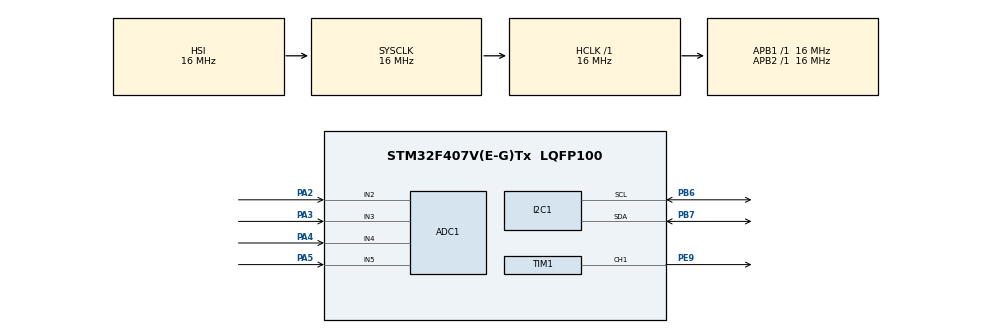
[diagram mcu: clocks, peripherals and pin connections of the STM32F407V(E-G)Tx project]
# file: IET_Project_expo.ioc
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ADC1.Channel-0\#ChannelRegularConversion=ADC_CHANNEL_2
ADC1.Channel-1\#ChannelRegularConversion=ADC_CHANNEL_3
ADC1.Channel-2\#ChannelRegularConversion=ADC_CHANNEL_4
ADC1.Channel-3\#ChannelRegularConversion=ADC_CHANNEL_5
ADC1.ContinuousConvMode=ENABLE
ADC1.NbrOfConversion=4
ADC1.NbrOfConversionFlag=1
ADC1.Rank-0\#ChannelRegularConversion=1
ADC1.Rank-1\#ChannelRegularConversion=2
ADC1.Rank-2\#ChannelRegularConversion=3
ADC1.Rank-3\#ChannelRegularConversion=4
ADC1.SamplingTime-0\#ChannelRegularConversion=ADC_SAMPLETIME_84CYCLES
ADC1.SamplingTime-1\#ChannelRegularConversion=ADC_SAMPLETIME_84CYCLES
ADC1.SamplingTime-2\#ChannelRegularConversion=ADC_SAMPLETIME_84CYCLES
ADC1.SamplingTime-3\#ChannelRegularConversion=ADC_SAMPLETIME_84CYCLES
ADC1.ScanConvMode=ENABLE
ADC1.master=1
Mcu.Family=STM32F4
Mcu.Name=STM32F407V(E-G)Tx
Mcu.Package=LQFP100
NVIC.PriorityGroup=NVIC_PRIORITYGROUP_4
PA2.Signal=ADCx_IN2
PA3.Signal=ADCx_IN3
PA4.Signal=ADCx_IN4
PA5.Signal=ADCx_IN5
PB6.Mode=I2C
PB6.Signal=I2C1_SCL
PB7.Mode=I2C
PB7.Signal=I2C1_SDA
PE9.Signal=S_TIM1_CH1
ProjectManager.HeapSize=0x200
ProjectManager.StackSize=0x400
ProjectManager.TargetToolchain=STM32CubeIDE
RCC.AHBFreq_Value=16000000
RCC.APB1Freq_Value=16000000
RCC.APB2Freq_Value=16000000
RCC.CortexFreq_Value=16000000
RCC.HSE_VALUE=25000000
RCC.HSI_VALUE=16000000
RCC.LSE_VALUE=32768
RCC.SYSCLKFreq_VALUE=16000000
RCC.VCOOutputFreq_Value=192000000
SH.ADCx_IN2.0=ADC1_IN2,IN2
SH.ADCx_IN3.0=ADC1_IN3,IN3
SH.ADCx_IN4.0=ADC1_IN4,IN4
SH.ADCx_IN5.0=ADC1_IN5,IN5
SH.S_TIM1_CH1.0=TIM1_CH1,PWM Generation1 CH1
TIM1.Channel-PWM\ Generation1\ CH1=TIM_CHANNEL_1
TIM1.Period=19999
TIM1.Prescaler=15
TIM1.Pulse-PWM\ Generation1\ CH1=1500
VP_TIM1_VS_ClockSourceINT.Mode=Internal
board=custom

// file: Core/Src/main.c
/* USER CODE BEGIN Header */
/**
  ******************************************************************************
  * @file           : main.c
  * @brief          : Main program body
  ******************************************************************************
  * @attention
  *
  * Copyright (c) 2025 STMicroelectronics.
  * All rights reserved.
  *
  * This software is licensed under terms that can be found in the LICENSE file
  * in the root directory of this software component.
  * If no LICENSE file comes with this software, it is provided AS-IS.
  *
  ******************************************************************************
  */
/* USER CODE END Header */
#include "main.h"

/* USER CODE BEGIN Includes */
#include "stm32f4xx_hal.h"
#include <math.h>
#include "lcd_i2c.h"
#include "stdio.h"
/* USER CODE END Includes */

/* USER CODE BEGIN PD */
//#define SERVO_MIN_ANGLE  0
//#define SERVO_MAX_ANGLE  120
#define SERVO_MIN_ANGLE  -60
#define SERVO_MAX_ANGLE  60

#define SERVO_STEP       10
#define LDR_THRESHOLD 10
#define POWER_THRESHOLD 5

#define V_REF 3.3
#define ADC_MAX 4095
/* USER CODE END PD */

ADC_HandleTypeDef hadc1;

I2C_HandleTypeDef hi2c1;

TIM_HandleTypeDef htim1;

/* USER CODE BEGIN PV */
int ldr1,ldr2;
int voltage,current;
//int current_angle = 60;
int current_angle = 0;

float prev_power = 0;
float cur_power;
float actual_current;
float actual_voltage;
/* USER CODE END PV */

void SystemClock_Config(void);
static void MX_GPIO_Init(void);
static void MX_ADC1_Init(void);
static void MX_I2C1_Init(void);
static void MX_TIM1_Init(void);
/* USER CODE BEGIN PFP */
void set_servo_angle(int angle);
void adjust_tilt(int ldr1, int ldr2,float cur_power);
/* USER CODE END PFP */

/* USER CODE BEGIN 0 */
void select_ADC_channel2(void){
	ADC_ChannelConfTypeDef sConfig = {0};
	sConfig.Channel = ADC_CHANNEL_2;
	  sConfig.Rank = 1;
	  sConfig.SamplingTime = ADC_SAMPLETIME_84CYCLES;
	  if (HAL_ADC_ConfigChannel(&hadc1, &sConfig) != HAL_OK)
	  {
	    Error_Handler();
	  }

	  /** Configure for the selected ADC regular channel its corresponding rank in the sequencer and its sample time.
	  */

	  /** Configure for the selected ADC regular channel its corresponding rank in the sequencer and its sample time.
	  */

}

void select_ADC_channel3(void){
	ADC_ChannelConfTypeDef sConfig = {0};

	  /** Configure for the selected ADC regular channel its corresponding rank in the sequencer and its sample time.
	  */
	  sConfig.Channel = ADC_CHANNEL_3;
	  sConfig.Rank = 1;
	  if (HAL_ADC_ConfigChannel(&hadc1, &sConfig) != HAL_OK)
	  {
	    Error_Handler();
	  }

	  /** Configure for the selected ADC regular channel its corresponding rank in the sequencer and its sample time.
	  */

	  /** Configure for the selected ADC regular channel its corresponding rank in the sequencer and its sample time.
	  */

}

void select_channel4(void){
	ADC_ChannelConfTypeDef sConfig = {0};

		  sConfig.Channel = ADC_CHANNEL_4;
		  sConfig.Rank = 1;
		  if (HAL_ADC_ConfigChannel(&hadc1, &sConfig) != HAL_OK)
		  {
		    Error_Handler();
		  }
}

void select_channel5(void){
	ADC_ChannelConfTypeDef sConfig = {0};

		  sConfig.Channel = ADC_CHANNEL_5;
		  sConfig.Rank = 1;
		  if (HAL_ADC_ConfigChannel(&hadc1, &sConfig) != HAL_OK)
		  {
		    Error_Handler();
		  }
}

void set_servo_angle(int angle) {
    if (angle < SERVO_MIN_ANGLE) angle = SERVO_MIN_ANGLE;
    if (angle > SERVO_MAX_ANGLE) angle = SERVO_MAX_ANGLE;

    int mapped_angle = (angle + 60)*180/120;  // Shift range (-60 to 60) -> (30 to 150)

    // Calculate duty cycle based on mapped angle
    int duty_cycle = ((mapped_angle * (2500 - 500)) / 180) + 500;
    __HAL_TIM_SET_COMPARE(&htim1, TIM_CHANNEL_1, duty_cycle);
    HAL_TIM_PWM_Start(&htim1, TIM_CHANNEL_1);

    current_angle = angle;
}

void adjust_tilt(int ldr1,int ldr2, float cur_power) {
   if (fabs(cur_power - prev_power) < POWER_THRESHOLD) {
       return;
   }

	int ldr_diff = (ldr1 - ldr2);

    if (fabs(ldr_diff) < LDR_THRESHOLD) {
        return;
    }

    if (ldr_diff > 0 && current_angle < SERVO_MAX_ANGLE) {
        set_servo_angle(current_angle + SERVO_STEP);
    } else if (ldr_diff < 0 && current_angle > SERVO_MIN_ANGLE) {
        set_servo_angle(current_angle - SERVO_STEP);
    }

    prev_power = cur_power;

}
/* USER CODE END 0 */

int main(void)
{

  /* MCU Configuration--------------------------------------------------------*/

  /* Reset of all peripherals, Initializes the Flash interface and the Systick. */
  HAL_Init();

  /* Configure the system clock */
  SystemClock_Config();

  /* Initialize all configured peripherals */
  MX_GPIO_Init();
  MX_ADC1_Init();
  MX_I2C1_Init();
  MX_TIM1_Init();
  /* USER CODE BEGIN 2 */
  LCD_Init(&hi2c1);
  /* USER CODE END 2 */

  /* Infinite loop */
  while (1)
  {
	  select_ADC_channel2();
	  	  HAL_ADC_Start(&hadc1);
	  	  HAL_ADC_PollForConversion(&hadc1, 1000);
	  	  ldr1 = HAL_ADC_GetValue(&hadc1);
	  	  HAL_ADC_Stop(&hadc1);

	  	  select_ADC_channel3();
	  	  HAL_ADC_Start(&hadc1);
	  	  HAL_ADC_PollForConversion(&hadc1, 1000);
	  	  ldr2 = HAL_ADC_GetValue(&hadc1);
	  	  HAL_ADC_Stop(&hadc1);

	  	  select_channel4();
	  	  HAL_ADC_Start(&hadc1);
	  	  HAL_ADC_PollForConversion(&hadc1, 1000);
	  	  voltage = HAL_ADC_GetValue(&hadc1);
	  	  HAL_ADC_Stop(&hadc1);

	  	  select_channel5();
	  	  HAL_ADC_Start(&hadc1);
	  	  HAL_ADC_PollForConversion(&hadc1, 1000);
	  	  current = HAL_ADC_GetValue(&hadc1);
	  	  HAL_ADC_Stop(&hadc1);

	  	 actual_voltage = (voltage / (float)ADC_MAX) * V_REF*  2.5;
	  	  float curr = (current / (float)ADC_MAX) * V_REF;
	  	     actual_current = (curr - 2.5) /0.185;
	  	     cur_power = actual_voltage * actual_current;

	  	   LCD_Clear();
	  	   LCD_SetCursor(0, 0);

	  	   char power_char[10];
	  	   int power_int = (int) cur_power;               // Integer part
	  	   int power_dec = (int)((cur_power - power_int) * 100); // Decimal part

	  	   sprintf(power_char, "%d.%02d", power_int, abs(power_dec));  // Manually format float
	  	   LCD_SendString("Power: ");
	  	   LCD_SendString(power_char);
	  	   LCD_SendString("W");

	  	   LCD_SetCursor(1, 0);

	  	   char volt_char[10];
	  	   int volt_int = (int) actual_voltage;
	  	   int volt_dec = (int)((actual_voltage - volt_int) * 100);

	  	   sprintf(volt_char, "%d.%02d", volt_int, abs(volt_dec));
	  	   LCD_SendString("Voltage: ");
	  	   LCD_SendString(volt_char);
	  	   LCD_SendString("V");

	  	  adjust_tilt(ldr1, ldr2,cur_power);

	  	  HAL_Delay(800);
  }
}

void SystemClock_Config(void)
{
  RCC_OscInitTypeDef RCC_OscInitStruct = {0};
  RCC_ClkInitTypeDef RCC_ClkInitStruct = {0};

  /** Configure the main internal regulator output voltage
  */
  __HAL_RCC_PWR_CLK_ENABLE();
  __HAL_PWR_VOLTAGESCALING_CONFIG(PWR_REGULATOR_VOLTAGE_SCALE1);

  /** Initializes the RCC Oscillators according to the specified parameters
  * in the RCC_OscInitTypeDef structure.
  */
  RCC_OscInitStruct.OscillatorType = RCC_OSCILLATORTYPE_HSI;
  RCC_OscInitStruct.HSIState = RCC_HSI_ON;
  RCC_OscInitStruct.HSICalibrationValue = RCC_HSICALIBRATION_DEFAULT;
  RCC_OscInitStruct.PLL.PLLState = RCC_PLL_NONE;
  if (HAL_RCC_OscConfig(&RCC_OscInitStruct) != HAL_OK)
  {
    Error_Handler();
  }

  /** Initializes the CPU, AHB and APB buses clocks
  */
  RCC_ClkInitStruct.ClockType = RCC_CLOCKTYPE_HCLK|RCC_CLOCKTYPE_SYSCLK
                              |RCC_CLOCKTYPE_PCLK1|RCC_CLOCKTYPE_PCLK2;
  RCC_ClkInitStruct.SYSCLKSource = RCC_SYSCLKSOURCE_HSI;
  RCC_ClkInitStruct.AHBCLKDivider = RCC_SYSCLK_DIV1;
  RCC_ClkInitStruct.APB1CLKDivider = RCC_HCLK_DIV1;
  RCC_ClkInitStruct.APB2CLKDivider = RCC_HCLK_DIV1;

  if (HAL_RCC_ClockConfig(&RCC_ClkInitStruct, FLASH_LATENCY_0) != HAL_OK)
  {
    Error_Handler();
  }
}

static void MX_ADC1_Init(void)
{

  ADC_ChannelConfTypeDef sConfig = {0};

  /** Configure the global features of the ADC (Clock, Resolution, Data Alignment and number of conversion)
  */
  hadc1.Instance = ADC1;
  hadc1.Init.ClockPrescaler = ADC_CLOCK_SYNC_PCLK_DIV2;
  hadc1.Init.Resolution = ADC_RESOLUTION_12B;
  hadc1.Init.ScanConvMode = ENABLE;
  hadc1.Init.ContinuousConvMode = ENABLE;
  hadc1.Init.DiscontinuousConvMode = DISABLE;
  hadc1.Init.ExternalTrigConvEdge = ADC_EXTERNALTRIGCONVEDGE_NONE;
  hadc1.Init.ExternalTrigConv = ADC_SOFTWARE_START;
  hadc1.Init.DataAlign = ADC_DATAALIGN_RIGHT;
  hadc1.Init.NbrOfConversion = 4;
  hadc1.Init.DMAContinuousRequests = DISABLE;
  hadc1.Init.EOCSelection = ADC_EOC_SINGLE_CONV;
  if (HAL_ADC_Init(&hadc1) != HAL_OK)
  {
    Error_Handler();
  }

}

static void MX_I2C1_Init(void)
{

  hi2c1.Instance = I2C1;
  hi2c1.Init.ClockSpeed = 100000;
  hi2c1.Init.DutyCycle = I2C_DUTYCYCLE_2;
  hi2c1.Init.OwnAddress1 = 0;
  hi2c1.Init.AddressingMode = I2C_ADDRESSINGMODE_7BIT;
  hi2c1.Init.DualAddressMode = I2C_DUALADDRESS_DISABLE;
  hi2c1.Init.OwnAddress2 = 0;
  hi2c1.Init.GeneralCallMode = I2C_GENERALCALL_DISABLE;
  hi2c1.Init.NoStretchMode = I2C_NOSTRETCH_DISABLE;
  if (HAL_I2C_Init(&hi2c1) != HAL_OK)
  {
    Error_Handler();
  }

}

static void MX_TIM1_Init(void)
{

  TIM_ClockConfigTypeDef sClockSourceConfig = {0};
  TIM_MasterConfigTypeDef sMasterConfig = {0};
  TIM_OC_InitTypeDef sConfigOC = {0};
  TIM_BreakDeadTimeConfigTypeDef sBreakDeadTimeConfig = {0};

  htim1.Instance = TIM1;
  htim1.Init.Prescaler = 15;
  htim1.Init.CounterMode = TIM_COUNTERMODE_UP;
  htim1.Init.Period = 19999;
  htim1.Init.ClockDivision = TIM_CLOCKDIVISION_DIV1;
  htim1.Init.RepetitionCounter = 0;
  htim1.Init.AutoReloadPreload = TIM_AUTORELOAD_PRELOAD_DISABLE;
  if (HAL_TIM_Base_Init(&htim1) != HAL_OK)
  {
    Error_Handler();
  }
  sClockSourceConfig.ClockSource = TIM_CLOCKSOURCE_INTERNAL;
  if (HAL_TIM_ConfigClockSource(&htim1, &sClockSourceConfig) != HAL_OK)
  {
    Error_Handler();
  }
  if (HAL_TIM_PWM_Init(&htim1) != HAL_OK)
  {
    Error_Handler();
  }
  sMasterConfig.MasterOutputTrigger = TIM_TRGO_RESET;
  sMasterConfig.MasterSlaveMode = TIM_MASTERSLAVEMODE_DISABLE;
  if (HAL_TIMEx_MasterConfigSynchronization(&htim1, &sMasterConfig) != HAL_OK)
  {
    Error_Handler();
  }
  sConfigOC.OCMode = TIM_OCMODE_PWM1;
  sConfigOC.Pulse = 1500;
  sConfigOC.OCPolarity = TIM_OCPOLARITY_HIGH;
  sConfigOC.OCNPolarity = TIM_OCNPOLARITY_HIGH;
  sConfigOC.OCFastMode = TIM_OCFAST_DISABLE;
  sConfigOC.OCIdleState = TIM_OCIDLESTATE_RESET;
  sConfigOC.OCNIdleState = TIM_OCNIDLESTATE_RESET;
  if (HAL_TIM_PWM_ConfigChannel(&htim1, &sConfigOC, TIM_CHANNEL_1) != HAL_OK)
  {
    Error_Handler();
  }
  sBreakDeadTimeConfig.OffStateRunMode = TIM_OSSR_DISABLE;
  sBreakDeadTimeConfig.OffStateIDLEMode = TIM_OSSI_DISABLE;
  sBreakDeadTimeConfig.LockLevel = TIM_LOCKLEVEL_OFF;
  sBreakDeadTimeConfig.DeadTime = 0;
  sBreakDeadTimeConfig.BreakState = TIM_BREAK_DISABLE;
  sBreakDeadTimeConfig.BreakPolarity = TIM_BREAKPOLARITY_HIGH;
  sBreakDeadTimeConfig.AutomaticOutput = TIM_AUTOMATICOUTPUT_DISABLE;
  if (HAL_TIMEx_ConfigBreakDeadTime(&htim1, &sBreakDeadTimeConfig) != HAL_OK)
  {
    Error_Handler();
  }
  HAL_TIM_MspPostInit(&htim1);

}

static void MX_GPIO_Init(void)
{

  /* GPIO Ports Clock Enable */
  __HAL_RCC_GPIOA_CLK_ENABLE();
  __HAL_RCC_GPIOE_CLK_ENABLE();
  __HAL_RCC_GPIOB_CLK_ENABLE();

}

void Error_Handler(void)
{
  __disable_irq();
  while (1)
  {
  }
}
